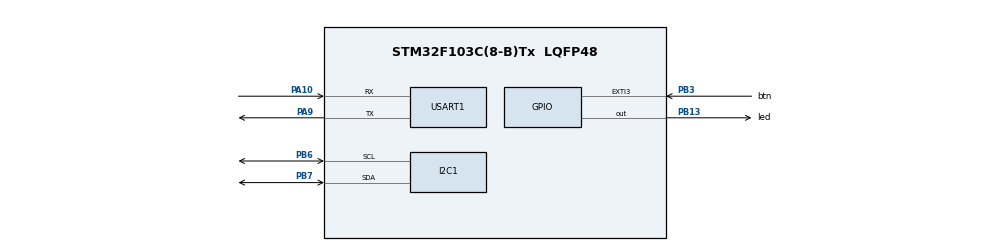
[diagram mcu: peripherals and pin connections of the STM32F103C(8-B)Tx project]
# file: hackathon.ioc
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I2C1.I2C_Mode=I2C_Fast
Mcu.Family=STM32F1
Mcu.Name=STM32F103C(8-B)Tx
Mcu.Package=LQFP48
NVIC.EXTI3_IRQn=true\:0\:0\:false\:false\:true\:true\:true\:true
NVIC.PriorityGroup=NVIC_PRIORITYGROUP_4
NVIC.TIM1_UP_IRQn=true\:0\:0\:false\:false\:true\:true\:true\:true
NVIC.USART1_IRQn=true\:0\:0\:false\:false\:true\:true\:true\:true
PA10.Mode=Asynchronous
PA10.Signal=USART1_RX
PA13.Mode=Serial_Wire
PA13.Signal=SYS_JTMS-SWDIO
PA14.Mode=Serial_Wire
PA14.Signal=SYS_JTCK-SWCLK
PA9.Mode=Asynchronous
PA9.Signal=USART1_TX
PB13.GPIO_Label=led
PB13.Signal=GPIO_Output
PB3.GPIO_Label=btn
PB3.GPIO_ModeDefaultEXTI=GPIO_MODE_IT_FALLING
PB3.GPIO_PuPd=GPIO_PULLUP
PB3.Signal=GPXTI3
PB6.Mode=I2C
PB6.Signal=I2C1_SCL
PB7.Mode=I2C
PB7.Signal=I2C1_SDA
PD0-OSC_IN.Mode=HSE-External-Oscillator
PD0-OSC_IN.Signal=RCC_OSC_IN
PD1-OSC_OUT.Mode=HSE-External-Oscillator
PD1-OSC_OUT.Signal=RCC_OSC_OUT
ProjectManager.HeapSize=0x200
ProjectManager.StackSize=0x400
ProjectManager.TargetToolchain=STM32CubeIDE
RCC.APB1Freq_Value=8000000
RCC.APB2Freq_Value=8000000
TIM1.Period=999
TIM1.Prescaler=7999
USART1.VirtualMode=VM_ASYNC
VP_TIM1_VS_ClockSourceINT.Mode=Internal
VP_TIM1_VS_OPM.Mode=OPM_bit
board=custom

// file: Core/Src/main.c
/* USER CODE BEGIN Header */
/**
  ******************************************************************************
  * @file           : main.c
  * @brief          : Main program body
  ******************************************************************************
  * @attention
  *
  * Copyright (c) 2024 STMicroelectronics.
  * All rights reserved.
  *
  * This software is licensed under terms that can be found in the LICENSE file
  * in the root directory of this software component.
  * If no LICENSE file comes with this software, it is provided AS-IS.
  *
  ******************************************************************************
  */
/* USER CODE END Header */
#include "main.h"

/* USER CODE BEGIN Includes */
#include "MPU9250_reg.h"
#include "string.h"
#include <stdio.h>
#include "string.h"
#include "i2c_er.h"
/* USER CODE END Includes */

/* USER CODE BEGIN PTD */
uint8_t counter = 0;
/* USER CODE END PTD */

I2C_HandleTypeDef hi2c1;

TIM_HandleTypeDef htim1;

UART_HandleTypeDef huart1;

/* USER CODE BEGIN PV */
float destination_a[3] = { 0, };
float destination_g[3] = { 0, };
int16_t destination_m[3] = { 0, };
int16_t destination_m_calib[3] = {0, };

char mass[50];
uint8_t flag = 0;
uint8_t receive_bayte;
char buf[36] = { 0, };
uint8_t sw[4] = { 0x02, 0x00, 0xA6, 0xBD };
float data[9];

float calib_gyro_x = 0;
float calib_gyro_y = 0;
float calib_gyro_z = 0;
float calib_accel_x_k = 1.00;
float calib_accel_x_b = -0.2;
float calib_accel_y_k = 1.00;
float calib_accel_y_b = -0.07;
float calib_accel_z_k = 0.98;
float calib_accel_z_b = -0.37;

uint8_t flag_exti = 0;
float gyro_offcet[3][1000] = {0, };
float accel_offcet[1000] = { 0, };
uint8_t flag_gyro = 0;
uint8_t flag_accel = 0;
float accel_uncalibrate_param[6];
//###################################### // new variables for magnetometer
//float magBias[3];
//float magScale[3];
//float mx;
//float my;
//float mz;
//int16_t magCount[3];
//float mRes;
//float magCalibration[3];
//enum Mscale {
//	MFS_14BITS = 0, // 0.6 mG per LSB
//	MFS_16BITS      // 0.15 mG per LSB
//};
//uint8_t Mscale = MFS_16BITS; // Choose either 14-bit or 16-bit magnetometer resolution
//uint8_t Mmode = 0x06; // 2 for 8 Hz, 6 for 100 Hz continuous magnetometer data read
//###################################################################
/* USER CODE END PV */

void SystemClock_Config(void);
static void MX_GPIO_Init(void);
static void MX_I2C1_Init(void);
static void MX_USART1_UART_Init(void);
static void MX_TIM1_Init(void);

/* USER CODE BEGIN 0 */
void MPU_init(void) {

	uint8_t R;
	uint8_t c;

	HAL_I2C_Mem_Write(&hi2c1, MPU9250_ADDRESS_W, PWR_MGMT_1, 1, 0x00, 1, 100); // Clear sleep mode bit (6), enable all sensors

	HAL_Delay(100);
	R = 0x01;
	HAL_I2C_Mem_Write(&hi2c1, MPU9250_ADDRESS_W, PWR_MGMT_1, 1, &R, 1, 100); // Set clock source to be PLL with x-axis gyroscope reference, bits 2:0 = 001

	// Configure Gyro and Accelerometer
	// Disable FSYNC and set accelerometer and gyro bandwidth to 44 and 42 Hz, respectively;
	// DLPF_CFG = bits 2:0 = 010; this sets the sample rate at 1 kHz for both
	// Maximum delay is 4.9 ms which is just over a 200 Hz maximum rate
	R = 0x00;
	HAL_I2C_Mem_Write(&hi2c1, MPU9250_ADDRESS_W, CONFIG, 1, &R, 1, 100);

	// Set sample rate = gyroscope output rate/(1 + SMPLRT_DIV)
	R = 0x01;
	HAL_I2C_Mem_Write(&hi2c1, MPU9250_ADDRESS_W, SMPLRT_DIV, 1, &R, 1, 100); // Use a 200 Hz rate; the same rate set in CONFIG above

	// Set gyroscope full scale range
	// Range selects FS_SEL and AFS_SEL are 0 - 3, so 2-bit values are left-shifted into positions 4:3
	HAL_I2C_Mem_Read(&hi2c1, MPU9250_ADDRESS_R, GYRO_CONFIG, 1, &c, 6, 100); // get current GYRO_CONFIG register value
	c = c & ~0xE0; // Clear self-test bits [7:5]
	c = c & ~0x02; // Clear Fchoice bits [1:0]
	c = c & ~0x18; // Clear AFS bits [4:3]
	c = c | 0 << 3; // Set full scale range for the gyro - 0=+250dps
	c = c | 0x00; // Set Fchoice for the gyro to 11 by writing its inverse to bits 1:0 of GYRO_CONFIG
	HAL_I2C_Mem_Write(&hi2c1, MPU9250_ADDRESS_W, GYRO_CONFIG, 1, &c, 1, 100); // Write new GYRO_CONFIG value to register

   // Set accelerometer full-scale range configuration
	HAL_I2C_Mem_Read(&hi2c1, MPU9250_ADDRESS_R, ACCEL_CONFIG, 1, &c, 6, 100); // get current ACCEL_CONFIG register value
	c = c & ~0xE0; // Clear self-test bits [7:5]
	c = c & ~0x18; // Clear AFS bits [4:3]
	c = c | 0 << 3; // Set full scale range for the accelerometer  - 0=2g
	HAL_I2C_Mem_Write(&hi2c1, MPU9250_ADDRESS_W, ACCEL_CONFIG, 1, &c, 1, 100); // Write new ACCEL_CONFIG register value

	 // Set accelerometer sample rate configuration
	 // It is possible to get a 4 kHz sample rate from the accelerometer by choosing 1 for
	 // accel_fchoice_b bit [3]; in this case the bandwidth is 1.13 kHz
	HAL_I2C_Mem_Read(&hi2c1, MPU9250_ADDRESS_R, MPU9250_ACCEL_CONFIG_2, 1, &c, 6, 100); // get current ACCEL_CONFIG2 register value
	c = c & ~0x0F; // Clear accel_fchoice_b (bit 3) and A_DLPFG (bits [2:0])
	c = c | 0x03; // Set accelerometer rate to 1 kHz and bandwidth to 41 Hz
	HAL_I2C_Mem_Write(&hi2c1, MPU9250_ADDRESS_W, MPU9250_ACCEL_CONFIG_2, 1, &c, 1, 100); // Write new ACCEL_CONFIG2 register value

	// The accelerometer, gyro, and thermometer are set to 1 kHz sample rates,
	// but all these rates are further reduced by a factor of 5 to 200 Hz because of the SMPLRT_DIV setting

	// Configure Interrupts and Bypass Enable
   // Set interrupt pin active high, push-pull, and clear on read of INT_STATUS, enable I2C_BYPASS_EN so additional chips
   // can join the I2C bus and all can be controlled by the Arduino as master
	R = 0x22;
	HAL_I2C_Mem_Write(&hi2c1, MPU9250_ADDRESS_W, MPU9250_INT_PIN_CFG, 1, &R, 1, 100);
	R = 0x01;
	HAL_I2C_Mem_Write(&hi2c1, MPU9250_ADDRESS_W, MPU9250_INT_ENABLE, 1, &R, 1, 100); // Enable data ready (bit 0) interrupt
}

void MAGN_init(float * destination) {

	uint8_t R;
	uint8_t rawData[3]; // x/y/z gyro calibration data stored here

	// First extract the factory calibration for each magnetometer axis
	R = 0x00;
	HAL_I2C_Mem_Write(&hi2c1, AK8963_ADDRESS_W, AK8963_CNTL, 1, &R, 1, 100); // Power down magnetometer
	HAL_Delay(10);
	R = 0x0F;
	HAL_I2C_Mem_Write(&hi2c1, AK8963_ADDRESS_W, AK8963_CNTL, 1, &R, 1, 100); // Enter Fuse ROM access mode
	HAL_Delay(10);
	HAL_I2C_Mem_Read(&hi2c1, AK8963_ADDRESS_W, AK8963_ASAX, 1, rawData, 3, 100); // Read the x-, y-, and z-axis calibration values
	destination[0] =  (float)(rawData[0] - 128) / 256.0f + 1.0f; // Return x-axis sensitivity adjustment values, etc.
	destination[1] =  (float)(rawData[1] - 128) / 256.0f + 1.0f;
	destination[2] =  (float)(rawData[2] - 128) / 256.0f + 1.0f;
	R = 0x00;
	HAL_I2C_Mem_Write(&hi2c1, AK8963_ADDRESS_W, AK8963_CNTL, 1, &R, 1, 100); // Power down magnetometer
	HAL_Delay(10);
	// Configure the magnetometer for continuous read and highest resolution
	// set Mscale bit 4 to 1 (0) to enable 16 (14) bit resolution in CNTL register,
	// and enable continuous mode data acquisition Mmode (bits [3:0]), 0010 for 8 Hz and 0110 for 100 Hz sample rates
	R = 0 << 4 | 0x06;
	HAL_I2C_Mem_Write(&hi2c1, AK8963_ADDRESS_W, AK8963_CNTL, 1, &R, 1, 100); // Set magnetometer data resolution and sample ODR
	HAL_Delay(10);

	R = 0x40;
	HAL_I2C_Mem_Write(&hi2c1, AK8963_ADDRESS_W, AK8963_ASTC, 1, &R, 1, 100); // set self-test
}

void MPU_get_magn(int16_t * destination) {
	uint8_t rawData[7]; // x/y/z gyro register data, ST2 register stored here, must read ST2 at end of data acquisition
	uint8_t c;
	uint32_t status = HAL_I2C_Mem_Read(&hi2c1, AK8963_ADDRESS_R, AK8963_ST1, 1, &c, 1, 10);
	if (status != HAL_OK)
	{
		I2C_ClearBusyFlagErratum(&hi2c1, 1000);
	}
	if (c >= 0x01) {
		// wait for magnetometer data ready bit to be set
		status = HAL_I2C_Mem_Read(&hi2c1, AK8963_ADDRESS_R, AK8963_XOUT_L, 1, rawData, 7, 10); // Read the six raw data and ST2 registers sequentially into data array
		if (status != HAL_OK)
		{
			I2C_ClearBusyFlagErratum(&hi2c1, 1000);
		}
		c = rawData[6]; // End data read by reading ST2 register
		if (!(c & 0x08)) {
			// Check if magnetic sensor overflow set, if not then report data
			destination[1] = (int16_t)(((int16_t)rawData[1] << 8) | rawData[0]); // Turn the MSB and LSB into a signed 16-bit value
			destination[0] = (int16_t)(((int16_t)rawData[3] << 8) | rawData[2]); // Data stored as little Endian
			destination[2] = -(int16_t)(((int16_t)rawData[5] << 8) | rawData[4]);
		}
	}

}
//#######################################################################################
//the same function as MPU_get_magn
//void readMagData(int16_t * destination) {
//
//	uint8_t readData;
//
//	HAL_I2C_Mem_Read(&hi2c1, AK8963_ADDRESS_R, AK8963_ST1, 1, &readData, 1, 100);
//	if ((readData & 0x01) == 0x01) {
//		uint8_t rawMagData[7]; // x/y/z gyro register data, ST2 register stored here, must read ST2 at end of data acquisition
//		HAL_I2C_Mem_Read(&hi2c1, AK8963_ADDRESS_R, AK8963_XOUT_L, 1, &rawMagData[0], 7, 100); // Read the six raw data and ST2 registers sequentially into data array
//		uint8_t c = rawMagData[6];
//		if (!(c & 0x08)) {
//			destination[0] = ((int16_t)rawMagData[1] << 8) | rawMagData[0]; // Turn the MSB and LSB into a signed 16-bit value
//			destination[1] = ((int16_t)rawMagData[3] << 8) | rawMagData[2]; // Data stored as little Endian
//			destination[2] = ((int16_t)rawMagData[5] << 8) | rawMagData[4];
//
//			//			if (SerialDebugB) {
//			//				printf("Mag X: %d\r\n", destination[0]);
//			//				printf("Mag Y: %d\r\n", destination[1]);
//			//				printf("Mag Z: %d\r\n", destination[2]);
//			//				printf("-------------------------\r\n");
//			//			}
//		}
//	}
//}
//// the same function as MAGN_INIT
//void initAK8963(float * destination) {
//	//pre def. vars
//	uint8_t writeData;
//
//	//First extract the factory calibration for each magnetometer axis
//	// x/y/z gyro calibration data stored here
//	uint8_t rawMagCalData[3];
//
//	//Power down magnetometer
//	writeData = 0x00;
//	HAL_I2C_Mem_Write(&hi2c1, AK8963_ADDRESS_W, AK8963_CNTL, 1, &writeData, 1, 100);
//	HAL_Delay(100);
//
//	writeData = 0x0F;
//	HAL_I2C_Mem_Write(&hi2c1, AK8963_ADDRESS_W, AK8963_CNTL, 1, &writeData, 1, 100); // Enter Fuse ROM access mode
//	HAL_Delay(100);
//
//
//	HAL_I2C_Mem_Read(&hi2c1, AK8963_ADDRESS_W, AK8963_ASAX, 1, &rawMagCalData[0], 3, 100); // Read the x-, y-, and z-axis calibration values
//	destination[0] =  (float)(rawMagCalData[0] - 128) / 256. + 1.; // Return x-axis sensitivity adjustment values, etc.
//	destination[1] =  (float)(rawMagCalData[1] - 128) / 256. + 1.;
//	destination[2] =  (float)(rawMagCalData[2] - 128) / 256. + 1.;
//
////	if (SerialDebugA) {
////		printf("Mag cal off X: %f\r\n", destination[0]);
////		printf("Mag cal off Y: %f\r\n", destination[1]);
////		printf("Mag cal off Z: %f\r\n", destination[2]);
////		printf("-------------------------\r\n");
////	}
//
//	writeData = 0x00;
//	HAL_I2C_Mem_Write(&hi2c1, AK8963_ADDRESS_W, AK8963_CNTL, 1, &writeData, 1, 100); // Power down magnetometer
//	HAL_Delay(100);
//
//	// Configure the magnetometer for continuous read and highest resolution
//	// set Mscale bit 4 to 1 (0) to enable 16 (14) bit resolution in CNTL register,
//	// and enable continuous mode data acquisition Mmode (bits [3:0]), 0010 for 8 Hz and 0110 for 100 Hz sample rates
//	writeData = Mscale << 4 | Mmode;
//	HAL_I2C_Mem_Write(&hi2c1, AK8963_ADDRESS_W, AK8963_CNTL, 1, &writeData, 1, 100); // Set magnetometer data resolution and sample ODR
//
//	//writeData = 0x16;
//	//HAL_I2C_Mem_Write(I2Cx, AK8963_ADDRESS, AK8963_CNTL, 1, &writeData, 1, i2c_timeout);
//	HAL_Delay(10);
//
//	//if (SerialDebugA){printf("MAG Init Succesful! \r\n"); }
//}
//
//void calibrateMag(float * dest1, float * dest2) {
//
//	uint16_t ii = 0, sample_count = 0;
//	int32_t mag_bias[3] = { 0, 0, 0 }, mag_scale[3] = { 0, 0, 0 };
//	int16_t mag_max[3] = { -32767, -32767, -32767 }, mag_min[3] = { 32767, 32767, 32767 }, mag_temp[3] = { 0, 0, 0 };
//
//	//if (SerialDebugA){printf("Mag Calibration: Wave device in a figure eight until done!\r\n"); }
//	HAL_Delay(4000);
//
//	// shoot for ~fifteen seconds of mag data
//	if (Mmode == 0x02) sample_count = 128; // at 8 Hz ODR, new mag data is available every 125 ms
//	if (Mmode == 0x06) sample_count = 1500; // at 100 Hz ODR, new mag data is available every 10 ms
//	for (ii = 0; ii < sample_count; ii++) {
//		MPU_get_magn(mag_temp); // Read the mag data
//		for (int jj = 0; jj < 3; jj++) {
//			if (mag_temp[jj] > mag_max[jj]) mag_max[jj] = mag_temp[jj];
//			if (mag_temp[jj] < mag_min[jj]) mag_min[jj] = mag_temp[jj];
//		}
//		if (Mmode == 0x02) HAL_Delay(135); // at 8 Hz ODR, new mag data is available every 125 ms
//		if (Mmode == 0x06) HAL_Delay(12); // at 100 Hz ODR, new mag data is available every 10 ms
//	}
//
//	// Get hard iron correction
//	mag_bias[0]  = (mag_max[0] + mag_min[0]) / 2; // get average x mag bias in counts
//	mag_bias[1]  = (mag_max[1] + mag_min[1]) / 2; // get average y mag bias in counts
//	mag_bias[2]  = (mag_max[2] + mag_min[2]) / 2; // get average z mag bias in counts
//
//	dest1[0] = (float) mag_bias[0]*mRes*magCalibration[0]; // save mag biases in G for main program
//	dest1[1] = (float) mag_bias[1]*mRes*magCalibration[1];
//	dest1[2] = (float) mag_bias[2]*mRes*magCalibration[2];
//
//	// Get soft iron correction estimate
//	mag_scale[0]  = (mag_max[0] - mag_min[0]) / 2; // get average x axis max chord length in counts
//	mag_scale[1]  = (mag_max[1] - mag_min[1]) / 2; // get average y axis max chord length in counts
//	mag_scale[2]  = (mag_max[2] - mag_min[2]) / 2; // get average z axis max chord length in counts
//
//	float avg_rad = mag_scale[0] + mag_scale[1] + mag_scale[2];
//	avg_rad /= 3.0;
//
//	dest2[0] = avg_rad / ((float)mag_scale[0]);
//	dest2[1] = avg_rad / ((float)mag_scale[1]);
//	dest2[2] = avg_rad / ((float)mag_scale[2]);
//
//	//if (SerialDebugA){printf("Mag Calibration done!\r\n"); }
//}
//
//void getMres() {
//	switch (Mscale)
//	{
//		// Possible magnetometer scales (and their register bit settings) are:
//		// 14 bit resolution (0) and 16 bit resolution (1)
//	case MFS_14BITS:
//		mRes = 10. * 4912. / 8190.; // Proper scale to return milliGauss
//		break;
//	case MFS_16BITS:
//		mRes = 10. * 4912. / 32760.0; // Proper scale to return milliGauss
//		break;
//	}
//}
//
//void MPU_get_magn_calib(float * destination)
//{
//	readMagData(magCount); // Read the x/y/z adc values
//	getMres();
//
//	// Calculate the magnetometer values in milliGauss
//	// Include factory calibration per data sheet and user environmental corrections
//	mx = (float)magCount[0]*mRes*magCalibration[0] - magBias[0]; // get actual magnetometer value, this depends on scale being set
//	my = (float)magCount[1]*mRes*magCalibration[1] - magBias[1];
//	mz = (float)magCount[2]*mRes*magCalibration[2] - magBias[2];
//	mx *= magScale[0];
//	my *= magScale[1];
//	mz *= magScale[2];
//}
//
//void set_data_calib()
//{
//	for (int i = 0; i < 3; i++)
//	{
//		data[i] = destination_m_calib[i];
//	}
//	for (int i = 0; i < 3; i++)
//	{
//		data[i + 3] = destination_a[i];
//	}
//	for (int i = 0; i < 3; i++)
//	{
//		if (destination_g[i] > 250){data[i + 6] = 250; }
//		if (destination_g[i] < -250){data[i + 6] = -250; }
//		data[i + 6] = destination_g[i];
//	}
//
//}

//######################################################################################

void MPU_get_accel(float * destination) {//��� ��� �������� ������ ���������
	uint8_t rawData[6];
	uint32_t status= HAL_I2C_Mem_Read(&hi2c1, MPU9250_ADDRESS_R, MPU9250_ACCEL_XOUT_H, 1, rawData, 6, 100);
	if (status != HAL_OK)
	{
		I2C_ClearBusyFlagErratum(&hi2c1, 1000);
	}
	destination[0] = ((float)(int16_t)(((int16_t)rawData[0] << 8) | rawData[1]) / 16384 * (9.8))*calib_accel_x_k + calib_accel_x_b; // Turn the MSB and LSB into a signed 16-bit value
	destination[1] = ((float)(int16_t)(((int16_t)rawData[2] << 8) | rawData[3]) / 16384 * (9.8))*calib_accel_y_k + calib_accel_y_b;
	destination[2] = ((float)(int16_t)(((int16_t)rawData[4] << 8) | rawData[5]) / 16384 * (9.8))*calib_accel_z_k + calib_accel_z_b;
}
void MPU_get_accel_start(float * destination) {
	uint8_t rawData[6];
	uint32_t status = HAL_I2C_Mem_Read(&hi2c1, MPU9250_ADDRESS_R, MPU9250_ACCEL_XOUT_H, 1, rawData, 6, 100);
	if (status != HAL_OK)
	{
		I2C_ClearBusyFlagErratum(&hi2c1, 1000);
	}
	destination[0] = (float)(int16_t)(((int16_t)rawData[0] << 8) | rawData[1]) / 16384 * (9.8); // Turn the MSB and LSB into a signed 16-bit value
	destination[1] = (float)(int16_t)(((int16_t)rawData[2] << 8) | rawData[3]) / 16384 * (9.8);
	destination[2] = (float)(int16_t)(((int16_t)rawData[4] << 8) | rawData[5]) / 16384 * (9.8);
}

void MPU_get_gyro(float * destination) {

	uint8_t rawData[6]; // x/y/z gyro register data stored here
	uint32_t status = HAL_I2C_Mem_Read(&hi2c1, MPU9250_ADDRESS_R, MPU9250_GYRO_XOUT_H, 1, rawData, 6, 100); // Read the six raw data registers sequentially into data array
	if (status != HAL_OK)
	{
		I2C_ClearBusyFlagErratum(&hi2c1, 1000);
	}
	destination[0] = (float)(int16_t)(((int16_t)rawData[0] << 8) | rawData[1]) / 131 - calib_gyro_x; // Turn the MSB and LSB into a signed 16-bit value
	destination[1] = (float)(int16_t)(((int16_t)rawData[2] << 8) | rawData[3]) / 131 - calib_gyro_y;
	destination[2] = (float)(int16_t)(((int16_t)rawData[4] << 8) | rawData[5]) / 131 - calib_gyro_z;
}
void MPU_get_gyro_start(float * destination) {

	uint8_t rawData[6]; // x/y/z gyro register data stored here
	uint32_t status = HAL_I2C_Mem_Read(&hi2c1, MPU9250_ADDRESS_R, MPU9250_GYRO_XOUT_H, 1, rawData, 6, 100); // Read the six raw data registers sequentially into data array
	if (status != HAL_OK)
	{
		I2C_ClearBusyFlagErratum(&hi2c1, 1000);
	}
	destination[0] = (float)(int16_t)(((int16_t)rawData[0] << 8) | rawData[1]) / 131 ; // Turn the MSB and LSB into a signed 16-bit value
	destination[1] = (float)(int16_t)(((int16_t)rawData[2] << 8) | rawData[3]) / 131 ;
	destination[2] = (float)(int16_t)(((int16_t)rawData[4] << 8) | rawData[5]) / 131 ;
}

//void MPU_get_magn(int16_t * destination){
//	uint8_t rawData[7]; // x/y/z gyro register data, ST2 register stored here, must read ST2 at end of data acquisition
//	uint8_t c;
//	uint32_t status = HAL_I2C_Mem_Read(&hi2c1, AK8963_ADDRESS_R, AK8963_ST1, 1, &c, 1, 10);
//	if (status != HAL_OK)
//	{
//		I2C_ClearBusyFlagErratum(&hi2c1, 1000);
//	}
//	if (c >= 0x01) {
//		// wait for magnetometer data ready bit to be set
//		status = HAL_I2C_Mem_Read(&hi2c1, AK8963_ADDRESS_R, AK8963_XOUT_L, 1, rawData, 7, 10); // Read the six raw data and ST2 registers sequentially into data array
//		if (status != HAL_OK)
//		{
//			I2C_ClearBusyFlagErratum(&hi2c1, 1000);
//		}
//		c = rawData[6]; // End data read by reading ST2 register
//		if (!(c & 0x08)) {
//			// Check if magnetic sensor overflow set, if not then report data
//			destination[0] = (int16_t)(((int16_t)rawData[1] << 8) | rawData[0]); // Turn the MSB and LSB into a signed 16-bit value
//			destination[1] = (int16_t)(((int16_t)rawData[3] << 8) | rawData[2]); // Data stored as little Endian
//			destination[2] = (int16_t)(((int16_t)rawData[5] << 8) | rawData[4]);
//		}
//	}
//
//}

void HAL_UART_RxCpltCallback(UART_HandleTypeDef *huart)
{
	if (huart == &huart1)
	{
		//HAL_UART_Transmit(&huart4,&receive_bayte, 1, 100);
		if (receive_bayte == 'r') {
			flag = 1;
			//snprintf(buf, 20, "%d %d %d %d ", sw[0], sw[1], sw[2], sw[3]);
			//HAL_UART_Transmit(&huart4, (uint8_t *)buf, sizeof(buf), 1000);
		}
		if (receive_bayte == 's')
		{
			flag = 0;

		}
	}
	HAL_UART_Receive_IT(&huart1, &receive_bayte, 1);
}

void HAL_UART_TxCpltCallback(UART_HandleTypeDef *huart)
{
	if (huart == &huart1)
	{

		// ����� ���������� �����-�� ����, ���������� �� ��������� ��������
	}
}
void HAL_GPIO_EXTI_Callback(uint16_t GPIO_Pin)
{
	flag_exti = 1;
	HAL_TIM_Base_Start_IT(&htim1);
}
void HAL_TIM_PeriodElapsedCallback(TIM_HandleTypeDef *htim)
{
	if (HAL_GPIO_ReadPin(btn_GPIO_Port, btn_Pin) == 0)
	{
		flag_accel = 1;
		HAL_TIM_Base_Stop_IT(&htim1);
	}
	else
	{
		flag_gyro = 1;
		HAL_TIM_Base_Stop_IT(&htim1);
	}
}

void set_data()
{
	for (int i = 0; i < 3; i++)
	{
		data[i] = destination_m[i];
	}
	for (int i = 0; i < 3; i++)
	{
		data[i + 3] = destination_a[i];
	}
	for (int i = 0; i < 3; i++)
	{
		if (destination_g[i] > 250){data[i + 6] = 250;}
		if (destination_g[i] < -250){data[i + 6] = -250; }
		data[i + 6] = destination_g[i];
	}

}
void gyro_calibration()
{
	HAL_Delay(2000);
	HAL_GPIO_WritePin(led_GPIO_Port, led_Pin, GPIO_PIN_SET);
	for (int i = 0; i < 800; i++)
	{
		MPU_get_gyro_start(destination_g);
		gyro_offcet[0][i] = destination_g[0];
		gyro_offcet[1][i] = destination_g[1];
		gyro_offcet[2][i] = destination_g[2];
		HAL_Delay(10);
	}
	for (int i = 0; i < 800; i++)
	{
		calib_gyro_x += gyro_offcet[0][i];
		calib_gyro_y += gyro_offcet[1][i];
		calib_gyro_z += gyro_offcet[2][i];
		if (i == 799)
		{
			calib_gyro_x = calib_gyro_x / 800;
			calib_gyro_y = calib_gyro_y / 800;
			calib_gyro_z = calib_gyro_z / 800;
		}
	}
	HAL_GPIO_WritePin(led_GPIO_Port, led_Pin, GPIO_PIN_RESET);
}

float get_accel_average(int j)
{
	uint8_t p = 0;
	switch (j)
	{
	case 0:
		p = 0;
		break;
	case 1:
		p = 0;
		break;
	case 2:
		p = 1;
		break;
	case 3:
		p = 1;
		break;
	case 4:
		p = 2;
		break;
	case 5:
		p = 2;
		break;
	}
	for (int i = 0; i < 800; i++)
	{

		MPU_get_accel_start(destination_a);

		accel_offcet[i] = destination_a[p];
		HAL_Delay(10);
	}
	float average;
	for (int i = 0; i < 800; i++)
	{
		average += accel_offcet[i];

		if (i == 799)
		{
			average = average / 800;
		}
	}
	return average;
}
void accel_calibration()
{
	HAL_GPIO_WritePin(led_GPIO_Port, led_Pin, GPIO_PIN_SET);
	HAL_Delay(2000);
	switch (counter)
	{
		case 1:
		accel_uncalibrate_param[counter-1] = get_accel_average(counter - 1);
		HAL_GPIO_WritePin(led_GPIO_Port, led_Pin, GPIO_PIN_RESET);
			break;
		case 2:
		accel_uncalibrate_param[counter - 1] = get_accel_average(counter - 1);
		HAL_GPIO_WritePin(led_GPIO_Port, led_Pin, GPIO_PIN_RESET);
			break;
		case 3:
		accel_uncalibrate_param[counter - 1] = get_accel_average(counter - 1);
		HAL_GPIO_WritePin(led_GPIO_Port, led_Pin, GPIO_PIN_RESET);
			break;
		case 4:
		accel_uncalibrate_param[counter - 1] = get_accel_average(counter - 1);
		HAL_GPIO_WritePin(led_GPIO_Port, led_Pin, GPIO_PIN_RESET);
			break;
		case 5:
		accel_uncalibrate_param[counter - 1] = get_accel_average(counter - 1);
		HAL_GPIO_WritePin(led_GPIO_Port, led_Pin, GPIO_PIN_RESET);
			break;
		case 6:
		accel_uncalibrate_param[counter - 1] = get_accel_average(counter - 1);
		HAL_GPIO_WritePin(led_GPIO_Port, led_Pin, GPIO_PIN_RESET);
			break;
	}
	if (counter == 6)
	{
		calib_accel_x_k = 2. * 9.81 / (accel_uncalibrate_param[0] - accel_uncalibrate_param[1]);
		calib_accel_x_b = 9.81 - calib_accel_x_k *accel_uncalibrate_param[0];

		calib_accel_y_k = 2. * 9.81 / (accel_uncalibrate_param[2] - accel_uncalibrate_param[3]);
		calib_accel_y_b = 9.81 - calib_accel_y_k *accel_uncalibrate_param[2];

		calib_accel_z_k = 2. * 9.81 / (accel_uncalibrate_param[4] - accel_uncalibrate_param[5]);
		calib_accel_z_b = 9.81 - calib_accel_z_k *accel_uncalibrate_param[4];

	}

}
/* USER CODE END 0 */

int main(void)
{

  /* MCU Configuration--------------------------------------------------------*/

  /* Reset of all peripherals, Initializes the Flash interface and the Systick. */
  HAL_Init();

  /* Configure the system clock */
  SystemClock_Config();

  /* Initialize all configured peripherals */
  MX_GPIO_Init();
  MX_I2C1_Init();
  MX_USART1_UART_Init();
  MX_TIM1_Init();
  /* USER CODE BEGIN 2 */
	__HAL_TIM_CLEAR_FLAG(&htim1, TIM_SR_UIF);
	//������������� �������������, ��������� � ������������
	MPU_init();
	MAGN_init((float*)destination_m); // for uncallibrated magnetometer data

	//######################################################################################
	//Get magnetometer calibration from AK8963 ROM
	//initAK8963(magCalibration); // Initialize device for active mode read of magnetometer
//	for (uint8_t k = 0; k < 5; k++)
//	{
//		HAL_GPIO_WritePin(led_GPIO_Port, led_Pin, GPIO_PIN_SET);
//		//HAL_GPIO_WritePin(led_GPIO_Port, led_Pin, GPIO_PIN_SET);
//		HAL_Delay(500);
//		HAL_GPIO_WritePin(led_GPIO_Port, led_Pin, GPIO_PIN_RESET);
//		HAL_Delay(500);
//	}
//	HAL_GPIO_WritePin(led_GPIO_Port, led_Pin, GPIO_PIN_SET);
//	calibrateMag(magBias, magScale);
//	HAL_GPIO_WritePin(led_GPIO_Port, led_Pin, GPIO_PIN_RESET);
//
//	HAL_Delay(1000);
	//######################################################################################

	//���������� ������ � �������������, ��������� � ������������
	MPU_get_gyro(destination_g);
	MPU_get_accel(destination_a);
	MPU_get_magn(destination_m);

	set_data();
	HAL_UART_Receive_IT(&huart1, &receive_bayte, 1);
  /* USER CODE END 2 */

  /* Infinite loop */
  /* USER CODE BEGIN WHILE */
  while (1)
  {
	  if (flag == 1)
	  {

		  HAL_UART_Transmit_IT(&huart1, sw, 4);
		  HAL_Delay(10);
		  HAL_UART_Transmit_IT(&huart1, (uint8_t*)data, sizeof(data));
		  HAL_Delay(10);

	  }
	  else
	  {
		  MPU_get_gyro(destination_g);
		  MPU_get_accel(destination_a);

		  MPU_get_magn(destination_m); // to get uncallibrate magnetometer data
		  set_data();

		  //######################################################################################
	  //MPU_get_magn_calib((float*)destination_m_calib); // to get callibrated data
	  //set_data_calib();
		  //######################################################################################
	  }
	  if (flag_exti == 1)
	  {
		  if (flag_gyro == 1)
		  {
			  flag_exti = 0;
			  gyro_calibration();
		  }
		  if (flag_accel == 1)
		  {
			  flag_exti = 0;
			  counter++;
			  accel_calibration();
			  if (counter == 6)
			  {
				  counter = 0;
			  }
		  }
		  flag_gyro = 0;
		  flag_accel = 0;
	  }

    /* USER CODE END WHILE */

  }
}

void SystemClock_Config(void)
{
  RCC_OscInitTypeDef RCC_OscInitStruct = {0};
  RCC_ClkInitTypeDef RCC_ClkInitStruct = {0};

  /** Initializes the RCC Oscillators according to the specified parameters
  * in the RCC_OscInitTypeDef structure.
  */
  RCC_OscInitStruct.OscillatorType = RCC_OSCILLATORTYPE_HSI;
  RCC_OscInitStruct.HSIState = RCC_HSI_ON;
  RCC_OscInitStruct.HSICalibrationValue = RCC_HSICALIBRATION_DEFAULT;
  RCC_OscInitStruct.PLL.PLLState = RCC_PLL_NONE;
  if (HAL_RCC_OscConfig(&RCC_OscInitStruct) != HAL_OK)
  {
    Error_Handler();
  }

  /** Initializes the CPU, AHB and APB buses clocks
  */
  RCC_ClkInitStruct.ClockType = RCC_CLOCKTYPE_HCLK|RCC_CLOCKTYPE_SYSCLK
                              |RCC_CLOCKTYPE_PCLK1|RCC_CLOCKTYPE_PCLK2;
  RCC_ClkInitStruct.SYSCLKSource = RCC_SYSCLKSOURCE_HSI;
  RCC_ClkInitStruct.AHBCLKDivider = RCC_SYSCLK_DIV1;
  RCC_ClkInitStruct.APB1CLKDivider = RCC_HCLK_DIV1;
  RCC_ClkInitStruct.APB2CLKDivider = RCC_HCLK_DIV1;

  if (HAL_RCC_ClockConfig(&RCC_ClkInitStruct, FLASH_LATENCY_0) != HAL_OK)
  {
    Error_Handler();
  }
}

static void MX_I2C1_Init(void)
{

  hi2c1.Instance = I2C1;
  hi2c1.Init.ClockSpeed = 400000;
  hi2c1.Init.DutyCycle = I2C_DUTYCYCLE_2;
  hi2c1.Init.OwnAddress1 = 0;
  hi2c1.Init.AddressingMode = I2C_ADDRESSINGMODE_7BIT;
  hi2c1.Init.DualAddressMode = I2C_DUALADDRESS_DISABLE;
  hi2c1.Init.OwnAddress2 = 0;
  hi2c1.Init.GeneralCallMode = I2C_GENERALCALL_DISABLE;
  hi2c1.Init.NoStretchMode = I2C_NOSTRETCH_DISABLE;
  if (HAL_I2C_Init(&hi2c1) != HAL_OK)
  {
    Error_Handler();
  }

}

static void MX_TIM1_Init(void)
{

  TIM_ClockConfigTypeDef sClockSourceConfig = {0};
  TIM_MasterConfigTypeDef sMasterConfig = {0};

  htim1.Instance = TIM1;
  htim1.Init.Prescaler = 7999;
  htim1.Init.CounterMode = TIM_COUNTERMODE_UP;
  htim1.Init.Period = 999;
  htim1.Init.ClockDivision = TIM_CLOCKDIVISION_DIV1;
  htim1.Init.RepetitionCounter = 0;
  htim1.Init.AutoReloadPreload = TIM_AUTORELOAD_PRELOAD_DISABLE;
  if (HAL_TIM_Base_Init(&htim1) != HAL_OK)
  {
    Error_Handler();
  }
  sClockSourceConfig.ClockSource = TIM_CLOCKSOURCE_INTERNAL;
  if (HAL_TIM_ConfigClockSource(&htim1, &sClockSourceConfig) != HAL_OK)
  {
    Error_Handler();
  }
  if (HAL_TIM_OnePulse_Init(&htim1, TIM_OPMODE_SINGLE) != HAL_OK)
  {
    Error_Handler();
  }
  sMasterConfig.MasterOutputTrigger = TIM_TRGO_RESET;
  sMasterConfig.MasterSlaveMode = TIM_MASTERSLAVEMODE_DISABLE;
  if (HAL_TIMEx_MasterConfigSynchronization(&htim1, &sMasterConfig) != HAL_OK)
  {
    Error_Handler();
  }

}

static void MX_USART1_UART_Init(void)
{

  huart1.Instance = USART1;
  huart1.Init.BaudRate = 115200;
  huart1.Init.WordLength = UART_WORDLENGTH_8B;
  huart1.Init.StopBits = UART_STOPBITS_1;
  huart1.Init.Parity = UART_PARITY_NONE;
  huart1.Init.Mode = UART_MODE_TX_RX;
  huart1.Init.HwFlowCtl = UART_HWCONTROL_NONE;
  huart1.Init.OverSampling = UART_OVERSAMPLING_16;
  if (HAL_UART_Init(&huart1) != HAL_OK)
  {
    Error_Handler();
  }

}

static void MX_GPIO_Init(void)
{
  GPIO_InitTypeDef GPIO_InitStruct = {0};

  /* GPIO Ports Clock Enable */
  __HAL_RCC_GPIOD_CLK_ENABLE();
  __HAL_RCC_GPIOB_CLK_ENABLE();
  __HAL_RCC_GPIOA_CLK_ENABLE();

  /*Configure GPIO pin Output Level */
  HAL_GPIO_WritePin(led_GPIO_Port, led_Pin, GPIO_PIN_RESET);

  /*Configure GPIO pin : led_Pin */
  GPIO_InitStruct.Pin = led_Pin;
  GPIO_InitStruct.Mode = GPIO_MODE_OUTPUT_PP;
  GPIO_InitStruct.Pull = GPIO_NOPULL;
  GPIO_InitStruct.Speed = GPIO_SPEED_FREQ_LOW;
  HAL_GPIO_Init(led_GPIO_Port, &GPIO_InitStruct);

  /*Configure GPIO pin : btn_Pin */
  GPIO_InitStruct.Pin = btn_Pin;
  GPIO_InitStruct.Mode = GPIO_MODE_IT_FALLING;
  GPIO_InitStruct.Pull = GPIO_PULLUP;
  HAL_GPIO_Init(btn_GPIO_Port, &GPIO_InitStruct);

  /* EXTI interrupt init*/
  HAL_NVIC_SetPriority(EXTI3_IRQn, 0, 0);
  HAL_NVIC_EnableIRQ(EXTI3_IRQn);

}

void Error_Handler(void)
{
  __disable_irq();
  while (1)
  {
  }
}
